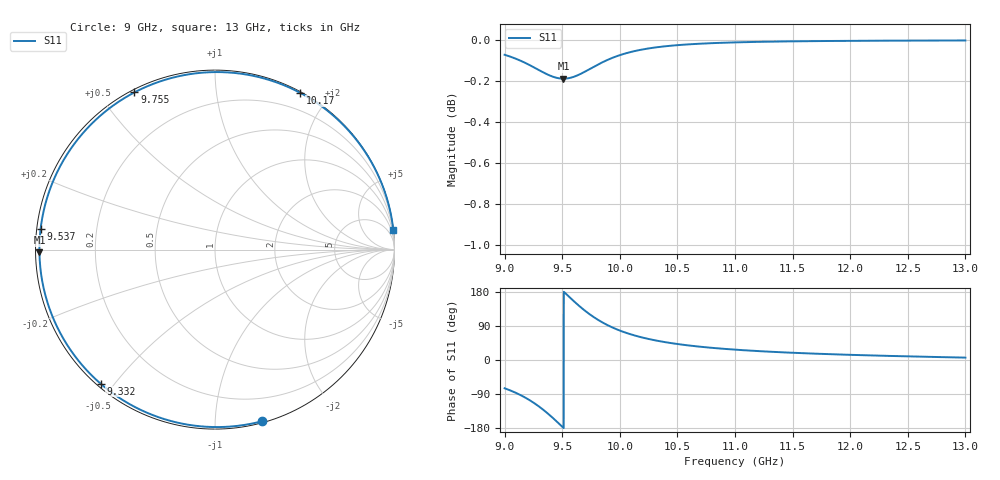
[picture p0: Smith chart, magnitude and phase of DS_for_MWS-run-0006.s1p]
! TOUCHSTONE file generated by CST DESIGN STUDIO
! Date and time: Tue Feb  4 16:02:48 2025
! Project name: C:\Work\MatlabApps\UnitCellOptimizationMatlab\CST\unitcell.cst
! Tree item: Tasks\Sweep1\SPara1\S-Parameters
! Header version: 2024
! Port assignment regex: !\s*Touchstone port\s*([0-9]+)\s*=\s*(CST MWS port|CST DES external port|CST DES block port)\s*(.+)\s* \(\"(.*)\"\)(\s*mode\s*([0-9]+))?.*
! Touchstone port assignment:
! Touchstone port 1 = CST DES external port 1 ("")
# GHz S MA R 50
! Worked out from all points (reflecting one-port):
!   4001 points, 9 GHz to 13 GHz, reference 50 ohm
!   lowest |S11| = -0.2 dB at 9.511 GHz (marker M1), VSWR 91.50, Z = 0.546 - j0.377 ohm
!   phase of S11 starts at -75 deg and turns -279 deg over the sweep
!   S11 on the Smith chart (normalised r, x): 9 GHz: 0.01, -1.31; 9.332 GHz: 0.01, -0.46; 9.537 GHz: 0.01, +0.06; 9.755 GHz: 0.01, +0.61; 10.17 GHz: 0.01, +1.68; 13 GHz: 0, +18
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9  0.9915 -74.6
9.089  0.9896 -85.5
9.192  0.9867 -101.5
9.265  0.9842 -115.5
9.332  0.9819 -130.5
9.377  0.9805 -141.7
9.424  0.9793 -154.3
9.463  0.9787 -165.3
9.5  0.9784 -175.9
9.511  0.9784 -179.1
9.537  0.9785 173.3
9.591  0.9792 157.9
9.651  0.9807 141.7
9.702  0.9824 129.0
9.755  0.9842 117.1
9.806  0.986 106.9
9.862  0.9878 97.0
10  0.9913 77.7
10.08  0.9928 69.2
10.167  0.9941 61.5
10.319  0.9957 51.1
10.5  0.9969 42.2
10.722  0.9978 34.3
11  0.9985 27.3
11.5  0.999 19.1
12  0.9993 13.6
12.5  0.9995 9.6
13  0.9995 6.3
